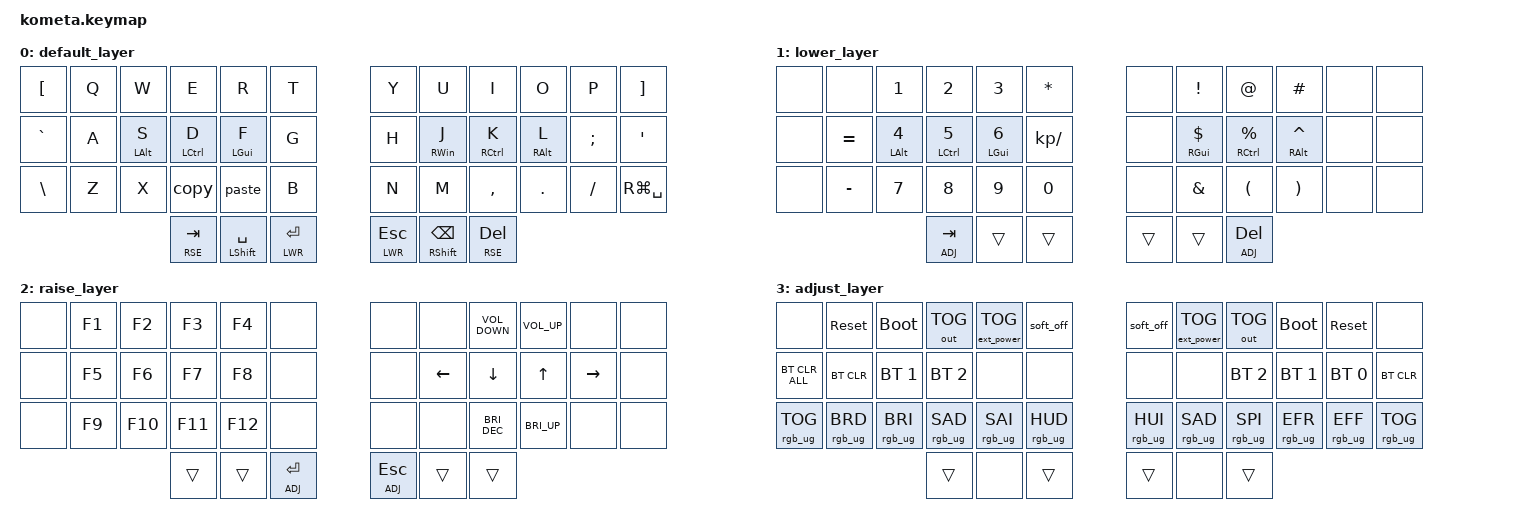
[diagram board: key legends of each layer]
#include <behaviors.dtsi>
#include <dt-bindings/zmk/bt.h>
#include <dt-bindings/zmk/ext_power.h>
#include <dt-bindings/zmk/keys.h>
#include <dt-bindings/zmk/outputs.h>
#include <dt-bindings/zmk/rgb.h>

#define DEF 0
#define LWR 1
#define RSE 2
#define ADJ 3

/ {
};

/ {
    behaviors {
        hr: hr {
            compatible = "zmk,behavior-hold-tap";
            label = "home_row";
            bindings = <&kp>, <&kp>;

            #binding-cells = <2>;
            tapping-term-ms = <150>;
            quick-tap-ms = <250>;
            flavor = "tap-preferred";
        };

        copy: copy {
            compatible = "zmk,behavior-tap-dance";
            label = "COPY";
            #binding-cells = <0>;
            bindings = <&kp C>, <&kp K_COPY>;
        };

        paste: paste {
            compatible = "zmk,behavior-tap-dance";
            label = "PASTE";
            #binding-cells = <0>;
            bindings = <&kp V>, <&kp INSERT>;
        };
    };

    keymap {
        compatible = "zmk,keymap";

        default_layer {
            bindings = <
&kp LEFT_BRACKET  &kp Q  &kp W           &kp E        &kp R            &kp T        &kp Y        &kp U            &kp I        &kp O            &kp P     &kp RIGHT_BRACKET
&kp GRAVE         &kp A  &hr LEFT_ALT S  &hr LCTRL D  &hr LEFT_GUI F   &kp G        &kp H        &hr RIGHT_WIN J  &hr RCTRL K  &hr RIGHT_ALT L  &kp SEMI  &kp SQT
&kp BSLH          &kp Z  &kp X           &copy        &paste           &kp B        &kp N        &kp M            &kp COMMA    &kp DOT          &kp FSLH  &kp RG(SPACE)
                                         &lt RSE TAB  &mt LSHFT SPACE  &lt LWR RET  &lt LWR ESC  &mt RSHFT BSPC   &lt RSE DEL
            >;
        };

        lower_layer {
            bindings = <
&none  &none      &kp NUMBER_1           &kp NUMBER_2         &kp NUMBER_3           &kp ASTERISK   &none   &kp EXCLAMATION       &kp AT_SIGN           &kp HASH               &none  &none
&none  &kp EQUAL  &hr LEFT_ALT NUMBER_4  &hr LEFT_CONTROL N5  &hr LEFT_GUI NUMBER_6  &kp KP_DIVIDE  &none   &hr RIGHT_GUI DOLLAR  &hr RCTRL PERCENT     &hr RIGHT_ALT CARET    &none  &none
&none  &kp MINUS  &kp N7                 &kp N8               &kp N9                 &kp N0         &none   &kp AMPERSAND         &kp LEFT_PARENTHESIS  &kp RIGHT_PARENTHESIS  &none  &none
                                         &lt ADJ TAB          &trans                 &trans         &trans  &trans                &lt ADJ DEL
            >;
        };

        raise_layer {
            bindings = <
&none  &kp F1  &kp F2   &kp F3   &kp F4   &none        &none        &none     &kp C_VOLUME_DOWN     &kp C_VOLUME_UP  &none            &none
&none  &kp F5  &kp F6   &kp F7   &kp F8   &none        &none        &kp LEFT  &kp DOWN              &kp UP           &kp RIGHT_ARROW  &none
&none  &kp F9  &kp F10  &kp F11  &kp F12  &none        &none        &none     &kp C_BRIGHTNESS_DEC  &kp C_BRI_UP     &none            &none
                        &trans   &trans   &lt ADJ RET  &lt ADJ ESC  &trans    &trans
            >;
        };

        adjust_layer {
            bindings = <
&none            &sys_reset       &bootloader      &out OUT_TOG     &ext_power EP_TOG  &soft_off        &soft_off        &ext_power EP_TOG  &out OUT_TOG     &bootloader      &sys_reset       &none
&bt BT_CLR_ALL   &bt BT_CLR       &bt BT_SEL 1     &bt BT_SEL 2     &none              &none            &none            &none              &bt BT_SEL 2     &bt BT_SEL 1     &bt BT_SEL 0     &bt BT_CLR
&rgb_ug RGB_TOG  &rgb_ug RGB_BRD  &rgb_ug RGB_BRI  &rgb_ug RGB_SAD  &rgb_ug RGB_SAI    &rgb_ug RGB_HUD  &rgb_ug RGB_HUI  &rgb_ug RGB_SAD    &rgb_ug RGB_SPI  &rgb_ug RGB_EFR  &rgb_ug RGB_EFF  &rgb_ug RGB_TOG
                                                   &trans           &none              &trans           &trans           &none              &trans
            >;
        };
    };
};
